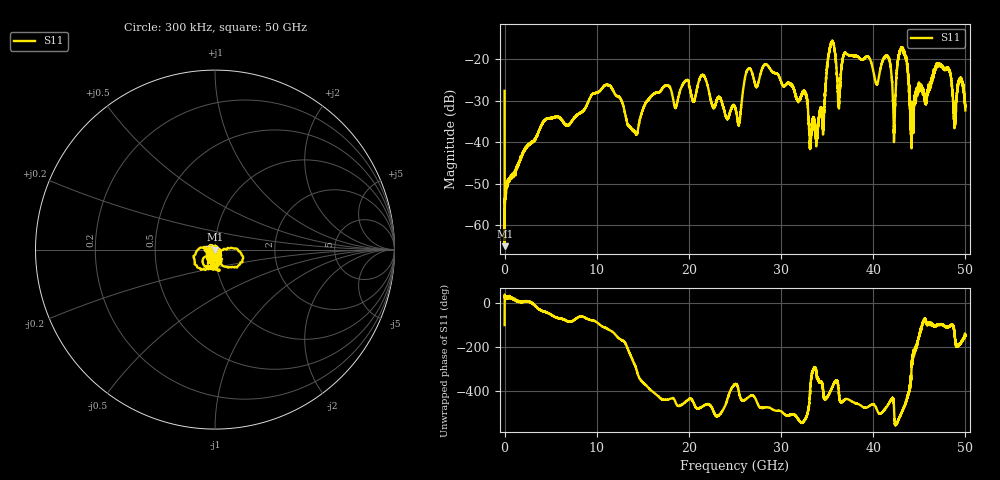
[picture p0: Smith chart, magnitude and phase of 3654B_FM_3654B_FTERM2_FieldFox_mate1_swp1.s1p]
!Created with skrf (http://scikit-rf.org).
# Hz S RI R 50.0
!freq ReS11 ImS11
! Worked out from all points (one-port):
!   10001 points, 300 kHz to 50 GHz, reference 50 ohm
!   lowest |S11| = -65.0 dB at 5.3 MHz (marker M1), VSWR 1.00, Z = 50 - j0.0449 ohm
!   |S11| at or under -10 dB: start of sweep to end of sweep
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300000  -0.00748 -0.041
5299970  0.000338 -0.000448
2.552985e8  0.00286 0.00125
4.305274e9  0.0143 -0.0113
6.250262e9  0.00546 -0.0178
1.250022e10  -0.033 -0.00993
1.419021e10  0.0042 0.0124
1.61452e10  0.0263 -0.0276
1.875019e10  -0.00923 -0.0296
2.149017e10  -0.0227 -0.0603
2.500015e10  0.026 -0.00517
2.547015e10  0.0102 -0.0142
2.649014e10  0.0286 -0.0717
3.125011e10  -0.0412 -0.0242
3.38451e10  0.00871 0.00678
3.542009e10  0.1225 -0.0921
3.627008e10  0.0176 -0.0244
3.750008e10  0.0123 -0.1096
4.037006e10  -0.0275 -0.0417
4.154005e10  -0.0341 -0.1034
4.225005e10  -0.00391 -0.00926
4.296004e10  -0.1134 -0.0657
4.375004e10  0.0357 -0.0597
4.420003e10  0.00392 0.0154
4.709502e10  -0.0153 -0.0842
4.881501e10  -0.0104 -0.0105
4.944e10  -0.0559 0.00634
5e10  -0.0209 -0.0123
